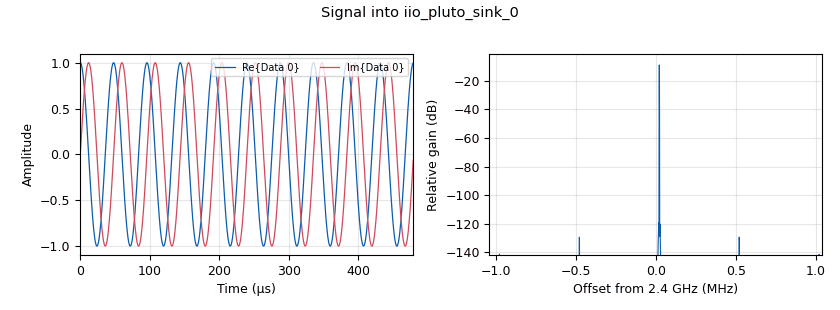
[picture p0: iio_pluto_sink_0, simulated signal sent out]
options:
  parameters:
    author: Travis Collins <travis.collins@analog.com>
    copyright: Analog Devices, Inc.
    generate_options: qt_gui
    id: cyclic_sine_pluto
    output_language: python
    title: 'Pluto Example: Cyclic-Sine'
  states: {}

blocks:
- name: samp_rate
  id: variable
  parameters:
    value: '2084000'
  states: {}
- name: analog_sig_source_x_0
  id: analog_sig_source_x
  parameters:
    amp: '1'
    freq: samp_rate/100
    offset: '0'
    samp_rate: samp_rate
    type: complex
    waveform: analog.GR_COS_WAVE
  states: {}
- name: iio_pluto_sink_0
  id: iio_pluto_sink
  parameters:
    attenuation1: '30.0'
    auto_filter: 'True'
    bandwidth: '20000000'
    buffer_size: '32768'
    cyclic: 'False'
    frequency: '2400000000'
    samplerate: samp_rate
  states: {}
- name: iio_pluto_source_0
  id: iio_pluto_source
  parameters:
    auto_filter: 'True'
    bandwidth: '20000000'
    bbdc: 'True'
    buffer_size: '32768'
    frequency: '2400000000'
    gain1: '''slow_attack'''
    quadrature: 'True'
    rfdc: 'True'
    samplerate: samp_rate
  states: {}
- name: qtgui_time_sink_x_0
  id: qtgui_time_sink_x
  parameters:
    color2: green
    marker1: '1'
    marker2: '1'
    size: '1024'
    srate: samp_rate
    type: complex
  states: {}

connections:
- [analog_sig_source_x_0, '0', iio_pluto_sink_0, '0']
- [iio_pluto_source_0, '0', qtgui_time_sink_x_0, '0']

metadata:
  file_format: 1
